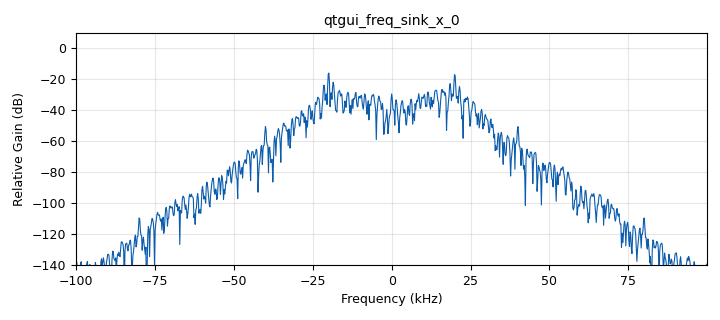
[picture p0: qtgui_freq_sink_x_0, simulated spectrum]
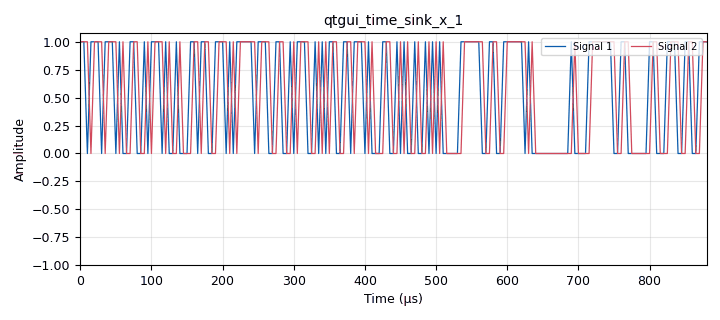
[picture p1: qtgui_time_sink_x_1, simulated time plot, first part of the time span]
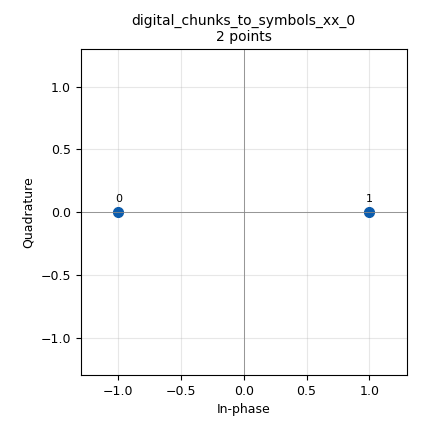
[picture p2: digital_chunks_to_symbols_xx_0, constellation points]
options:
  parameters:
    author: Ckjaer
    generate_options: qt_gui
    id: gaussianFilter
    output_language: python
    title: Not titled yet
  states: {}

blocks:
- name: BT
  id: variable
  parameters:
    value: '0.25'
  states: {}
- name: delay
  id: variable_qtgui_range
  parameters:
    start: '0'
    step: '1'
    stop: '150'
    value: '24'
  states: {}
- name: fft_size
  id: variable
  parameters:
    value: '1024'
  states: {}
- name: gaussian_taps
  id: variable
  parameters:
    value: '0'
  states: {}
- name: interp
  id: variable
  parameters:
    value: interp_id
  states: {}
- name: interp_id
  id: variable_qtgui_range
  parameters:
    rangeType: int
    start: '2'
    step: '1'
    stop: '50'
    value: '10'
  states: {}
- name: samp_rate
  id: variable
  parameters:
    value: 200e3
  states: {}
- name: samples_per_symbol
  id: variable
  parameters:
    value: '10'
  states: {}
- name: analog_frequency_modulator_fc_0
  id: analog_frequency_modulator_fc
  parameters:
    sensitivity: (np.pi / 2) / interp_id
  states: {}
- name: analog_quadrature_demod_cf_0
  id: analog_quadrature_demod_cf
  parameters:
    gain: '1'
  states: {}
- name: analog_random_source_x_0
  id: analog_random_source_x
  parameters:
    max: '256'
    min: '0'
    num_samps: '1000'
    repeat: 'True'
    type: byte
  states: {}
- name: blocks_delay_0
  id: blocks_delay
  parameters:
    delay: '0'
    type: float
  states: {}
- name: blocks_keep_one_in_n_0
  id: blocks_keep_one_in_n
  parameters:
    n: '100'
    type: byte
  states: {state: disabled}
- name: blocks_null_sink_0
  id: blocks_null_sink
  parameters:
    type: byte
  states: {state: disabled}
- name: blocks_packed_to_unpacked_xx_0
  id: blocks_packed_to_unpacked_xx
  parameters:
    bits_per_chunk: '1'
    endianness: gr.GR_MSB_FIRST
    type: byte
  states: {}
- name: blocks_repack_bits_bb_0
  id: blocks_repack_bits_bb
  parameters:
    endianness: gr.GR_LSB_FIRST
    k: '1'
    l: '8'
  states: {state: disabled}
- name: blocks_repeat_0
  id: blocks_repeat
  parameters:
    interp: interp
    type: byte
  states: {}
- name: blocks_throttle2_0
  id: blocks_throttle2
  parameters:
    samples_per_second: samp_rate
    type: byte
  states: {}
- name: blocks_uchar_to_float_1
  id: blocks_uchar_to_float
  parameters: {}
  states: {}
- name: blocks_uchar_to_float_1_0
  id: blocks_uchar_to_float
  parameters: {}
  states: {}
- name: blocks_unpacked_to_packed_xx_0
  id: blocks_unpacked_to_packed_xx
  parameters:
    bits_per_chunk: '1'
    endianness: gr.GR_LSB_FIRST
    type: byte
  states: {state: disabled}
- name: digital_binary_slicer_fb_0
  id: digital_binary_slicer_fb
  parameters: {}
  states: {}
- name: digital_chunks_to_symbols_xx_0
  id: digital_chunks_to_symbols_xx
  parameters:
    dimension: '1'
    in_type: byte
    out_type: float
    symbol_table: '[-1, 1]'
  states: {}
- name: digital_gmsk_mod_0
  id: digital_gmsk_mod
  parameters:
    bt: '0.35'
    samples_per_symbol: '2'
  states: {state: disabled}
- name: digital_symbol_sync_xx_1
  id: digital_symbol_sync_xx
  parameters:
    damping: '1.0'
    loop_bw: '0.045'
    max_dev: '1.5'
    nfilters: '64'
    osps: '1'
    resamp_type: digital.IR_PFB_NO_MF
    sps: interp
    ted_gain: '1.0'
    ted_type: digital.TED_EARLY_LATE
    type: ff
  states: {}
- name: freq_xlating_fir_filter_xxx_0
  id: freq_xlating_fir_filter_xxx
  parameters:
    center_freq: '0'
    decim: '1'
    samp_rate: samp_rate
    type: ccc
  states: {state: disabled}
- name: import_0
  id: import
  parameters:
    imports: import numpy as np
  states: {}
- name: interp_fir_filter_xxx_0
  id: interp_fir_filter_xxx
  parameters:
    comment: Gaussian filter
    interp: '1'
    taps: taps.generate_taps(4, 0.25)
    type: fff
  states: {}
- name: qtgui_freq_sink_x_0
  id: qtgui_freq_sink_x
  parameters:
    bw: samp_rate
    fc: '0'
    fftsize: '1024'
    type: complex
  states: {}
- name: qtgui_time_sink_x_1
  id: qtgui_time_sink_x
  parameters:
    nconnections: '2'
    size: '1024'
    srate: samp_rate
    type: float
  states: {}
- name: taps
  id: epy_module
  parameters:
    comment: Calculates the filter taps
    source_code: "import numpy as np\r\nfrom gnuradio import filter\r\n\r\ndef generate_taps(samples_per_symbol, bt):\r\n    samples_per_symbol = int(samples_per_symbol)\r\n    ntaps = 4 * samples_per_symbol\r\n\r\n    # Generate Gaussian filter taps\r\n    gaussian_taps = filter.firdes.gaussian(\r\n        1,                       # gain\r\n        samples_per_symbol,      # symbol_rate\r\n        bt,                      # bandwidth * symbol time\r\n        ntaps                    # number of taps\r\n    )\r\n\r\n    taps = np.convolve(np.array(gaussian_taps), np.ones(samples_per_symbol))\r\n    return taps"
  states: {}

connections:
- [analog_frequency_modulator_fc_0, '0', analog_quadrature_demod_cf_0, '0']
- [analog_frequency_modulator_fc_0, '0', qtgui_freq_sink_x_0, '0']
- [analog_quadrature_demod_cf_0, '0', digital_symbol_sync_xx_1, '0']
- [analog_random_source_x_0, '0', blocks_packed_to_unpacked_xx_0, '0']
- [blocks_delay_0, '0', qtgui_time_sink_x_1, '0']
- [blocks_keep_one_in_n_0, '0', blocks_repack_bits_bb_0, '0']
- [blocks_keep_one_in_n_0, '0', blocks_unpacked_to_packed_xx_0, '0']
- [blocks_packed_to_unpacked_xx_0, '0', blocks_throttle2_0, '0']
- [blocks_repack_bits_bb_0, '0', blocks_null_sink_0, '0']
- [blocks_repeat_0, '0', digital_chunks_to_symbols_xx_0, '0']
- [blocks_throttle2_0, '0', blocks_repeat_0, '0']
- [blocks_throttle2_0, '0', blocks_uchar_to_float_1, '0']
- [blocks_uchar_to_float_1, '0', blocks_delay_0, '0']
- [blocks_uchar_to_float_1_0, '0', qtgui_time_sink_x_1, '1']
- [blocks_unpacked_to_packed_xx_0, '0', blocks_null_sink_0, '0']
- [digital_binary_slicer_fb_0, '0', blocks_keep_one_in_n_0, '0']
- [digital_binary_slicer_fb_0, '0', blocks_uchar_to_float_1_0, '0']
- [digital_chunks_to_symbols_xx_0, '0', interp_fir_filter_xxx_0, '0']
- [digital_symbol_sync_xx_1, '0', digital_binary_slicer_fb_0, '0']
- [interp_fir_filter_xxx_0, '0', analog_frequency_modulator_fc_0, '0']

metadata:
  file_format: 1
  grc_version: 3.10.9.2
